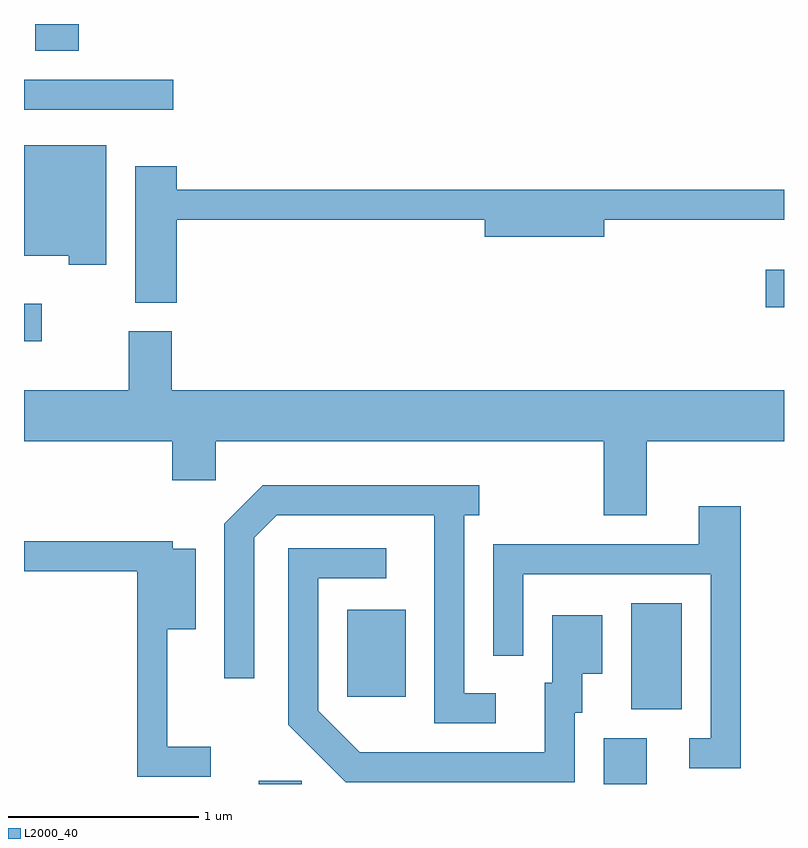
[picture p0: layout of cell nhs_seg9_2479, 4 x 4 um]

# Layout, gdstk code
import gdstk
lib = gdstk.Library(unit=1e-6, precision=1e-09)
def R(c, l, rs):  # rectangles x0, y0, x1, y1
    for r in rs: c.add(gdstk.rectangle(r[:2], r[2:], *l))
def P(c, l, *ps):  # polygons
    for p in ps: c.add(gdstk.Polygon(p, *l))
L2000_40 = (2000, 40)

nhs_seg9_2479 = lib.new_cell('nhs_seg9_2479')
R(nhs_seg9_2479, L2000_40, [(258.846,2014.432,259.074,2014.449), (260.661,2014.432,260.889,2014.674), (260.806,2014.826,261.074,2015.384), (259.311,2014.891,259.619,2015.349), (257.611,2016.761,257.704,2016.959), (261.516,2016.941,261.611,2017.139), (257.611,2017.981,258.397,2018.139), (257.671,2018.291,257.899,2018.432)])
P(nhs_seg9_2479, L2000_40, [(258.044,2017.794),(257.611,2017.794),(257.611,2017.211),(257.846,2017.211),(257.846,2017.166),(258.044,2017.166)],
  [(258.414,2017.401),(260.036,2017.401),(260.036,2017.311),(260.664,2017.311),(260.664,2017.401),(261.611,2017.401),(261.611,2017.559),(258.414,2017.559),(258.414,2017.684),(258.196,2017.684),(258.196,2016.966),(258.414,2016.966)],
  [(260.889,2016.236),(261.611,2016.236),(261.611,2016.504),(258.389,2016.504),(258.389,2016.814),(258.161,2016.814),(258.161,2016.504),(257.611,2016.504),(257.611,2016.236),(258.391,2016.236),(258.391,2016.031),(258.619,2016.031),(258.619,2016.236),(260.661,2016.236),(260.661,2015.846),(260.889,2015.846)],
  [(260.093,2014.909),(259.929,2014.909),(259.929,2015.846),(260.008,2015.846),(260.008,2016.004),(258.868,2016.004),(258.666,2015.802),(258.666,2014.988),(258.824,2014.988),(258.824,2015.729),(258.942,2015.846),(259.771,2015.846),(259.771,2014.751),(260.093,2014.751)],
  [(261.384,2015.894),(261.161,2015.894),(261.161,2015.694),(260.081,2015.694),(260.081,2015.108),(260.239,2015.108),(260.239,2015.536),(261.226,2015.536),(261.226,2014.674),(261.113,2014.674),(261.113,2014.516),(261.384,2014.516)],
  [(258.593,2014.629),(258.364,2014.629),(258.364,2015.246),(258.514,2015.246),(258.514,2015.669),(258.394,2015.669),(258.394,2015.709),(257.611,2015.709),(257.611,2015.551),(258.206,2015.551),(258.206,2014.471),(258.593,2014.471)],
  [(260.509,2014.806),(260.549,2014.806),(260.549,2015.011),(260.654,2015.011),(260.654,2015.319),(260.391,2015.319),(260.391,2014.964),(260.351,2014.964),(260.351,2014.599),(259.377,2014.599),(259.159,2014.817),(259.159,2015.516),(259.517,2015.516),(259.517,2015.674),(259.001,2015.674),(259.001,2014.744),(259.304,2014.441),(260.509,2014.441)])

lib.write_gds('nhs_seg9_2479.gds')
